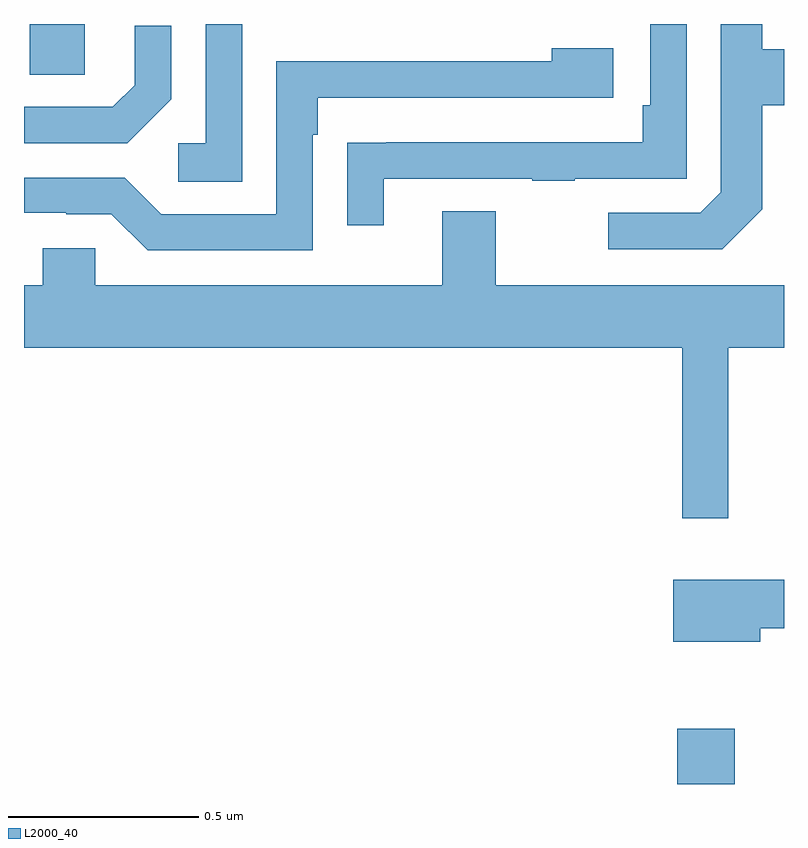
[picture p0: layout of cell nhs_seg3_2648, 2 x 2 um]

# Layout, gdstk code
import gdstk
lib = gdstk.Library(unit=1e-6, precision=1e-09)
def R(c, l, rs):  # rectangles x0, y0, x1, y1
    for r in rs: c.add(gdstk.rectangle(r[:2], r[2:], *l))
def P(c, l, *ps):  # polygons
    for p in ps: c.add(gdstk.Polygon(p, *l))
L2000_40 = (2000, 40)

nhs_seg3_2648 = lib.new_cell('nhs_seg3_2648')
R(nhs_seg3_2648, L2000_40, [(144.719,734.4,144.871,734.545), (143.015,736.267,143.16,736.4)])
P(nhs_seg3_2648, L2000_40, [(143.574,736.4),(143.478,736.4),(143.478,736.086),(143.406,736.086),(143.406,735.985),(143.574,735.985)],
  [(144.943,735.913),(144.943,736.186),(145,736.186),(145,736.333),(144.943,736.333),(144.943,736.4),(144.834,736.4),(144.834,735.957),(144.78,735.903),(144.537,735.903),(144.537,735.807),(144.837,735.807)],
  [(143.947,735.993),(144.337,735.993),(144.337,735.988),(144.449,735.988),(144.449,735.993),(144.744,735.993),(144.744,736.4),(144.648,736.4),(144.648,736.186),(144.628,736.186),(144.628,736.089),(143.953,736.089),(143.953,736.088),(143.851,736.088),(143.851,735.87),(143.947,735.87)],
  [(143.388,736.202),(143.388,736.396),(143.291,736.396),(143.291,736.239),(143.234,736.182),(143,736.182),(143,736.086),(143.272,736.086)],
  [(143.76,736.109),(143.773,736.109),(143.773,736.206),(144.55,736.206),(144.55,736.336),(144.389,736.336),(144.389,736.302),(143.664,736.302),(143.664,735.9),(143.361,735.9),(143.265,735.996),(143,735.996),(143,735.903),(143.111,735.903),(143.111,735.9),(143.229,735.9),(143.325,735.804),(143.76,735.804)],
  [(144.853,735.548),(145,735.548),(145,735.712),(144.241,735.712),(144.241,735.907),(144.101,735.907),(144.101,735.712),(143.187,735.712),(143.187,735.81),(143.049,735.81),(143.049,735.712),(143,735.712),(143,735.548),(144.732,735.548),(144.732,735.099),(144.853,735.099)],
  [(144.937,734.81),(145,734.81),(145,734.938),(144.708,734.938),(144.708,734.774),(144.937,734.774)])

lib.write_gds('nhs_seg3_2648.gds')
